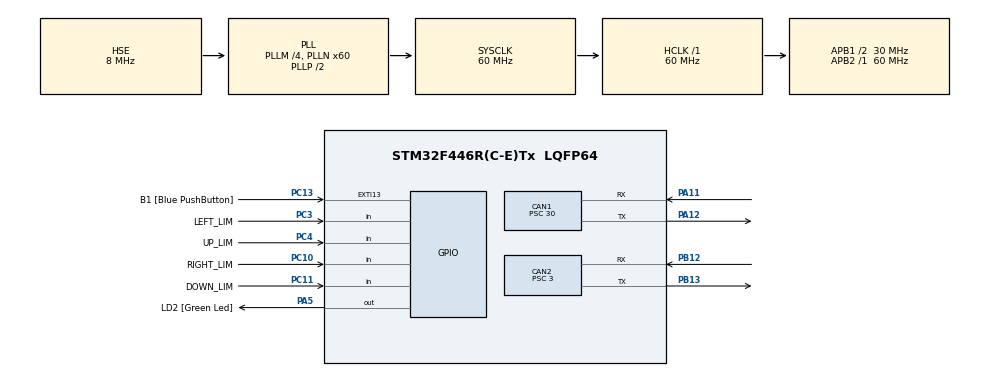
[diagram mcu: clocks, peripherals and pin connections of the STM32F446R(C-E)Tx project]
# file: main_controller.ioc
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CAN1.BS1=CAN_BS1_7TQ
CAN1.BS2=CAN_BS2_2TQ
CAN1.CalculateBaudRate=99999
CAN1.CalculateTimeBit=10000
CAN1.CalculateTimeQuantum=1000.0000000000001
CAN1.Prescaler=30
CAN2.BS1=CAN_BS1_7TQ
CAN2.BS2=CAN_BS2_2TQ
CAN2.CalculateBaudRate=1000000
CAN2.CalculateTimeBit=1000
CAN2.CalculateTimeQuantum=100.0
CAN2.Prescaler=3
Mcu.Family=STM32F4
Mcu.Name=STM32F446R(C-E)Tx
Mcu.Package=LQFP64
NVIC.CAN1_RX0_IRQn=true\:0\:0\:false\:false\:true\:true\:true\:true
NVIC.CAN2_RX0_IRQn=true\:0\:0\:false\:false\:true\:true\:true\:true
NVIC.PriorityGroup=NVIC_PRIORITYGROUP_0
PA11.Mode=CAN_Activate
PA11.Signal=CAN1_RX
PA12.Mode=CAN_Activate
PA12.Signal=CAN1_TX
PA13.GPIO_Label=TMS
PA13.Signal=SYS_JTMS-SWDIO
PA14.GPIO_Label=TCK
PA14.Signal=SYS_JTCK-SWCLK
PA2.GPIO_Label=USART_TX
PA2.Signal=USART2_TX
PA3.GPIO_Label=USART_RX
PA3.Signal=USART2_RX
PA5.GPIO_Label=LD2 [Green Led]
PA5.Signal=GPIO_Output
PB12.Mode=CAN_Activate
PB12.Signal=CAN2_RX
PB13.Mode=CAN_Activate
PB13.Signal=CAN2_TX
PB3.GPIO_Label=SWO
PB3.Signal=SYS_JTDO-SWO
PC10.GPIO_Label=RIGHT_LIM
PC10.GPIO_PuPd=GPIO_PULLUP
PC10.Signal=GPIO_Input
PC11.GPIO_Label=DOWN_LIM
PC11.GPIO_PuPd=GPIO_PULLUP
PC11.Signal=GPIO_Input
PC13.GPIO_Label=B1 [Blue PushButton]
PC13.GPIO_ModeDefaultEXTI=GPIO_MODE_IT_FALLING
PC13.Signal=GPXTI13
PC14-OSC32_IN.Signal=RCC_OSC32_IN
PC15-OSC32_OUT.Signal=RCC_OSC32_OUT
PC3.GPIO_Label=LEFT_LIM
PC3.GPIO_PuPd=GPIO_PULLUP
PC3.Signal=GPIO_Input
PC4.GPIO_Label=UP_LIM
PC4.GPIO_PuPd=GPIO_PULLUP
PC4.Signal=GPIO_Input
PH0-OSC_IN.Mode=HSE-External-Clock-Source
PH0-OSC_IN.Signal=RCC_OSC_IN
PH1-OSC_OUT.Mode=HSE-External-Clock-Source
PH1-OSC_OUT.Signal=RCC_OSC_OUT
ProjectManager.HeapSize=0x200
ProjectManager.StackSize=0x400
ProjectManager.TargetToolchain=CMake
RCC.AHBFreq_Value=60000000
RCC.APB1CLKDivider=RCC_HCLK_DIV2
RCC.APB1Freq_Value=30000000
RCC.APB1TimFreq_Value=60000000
RCC.APB2Freq_Value=60000000
RCC.APB2TimFreq_Value=60000000
RCC.CortexFreq_Value=60000000
RCC.FLatency-AdvancedSettings=FLASH_LATENCY_1
RCC.HCLKFreq_Value=60000000
RCC.HSE_VALUE=8000000
RCC.HSI_VALUE=16000000
RCC.LSE_VALUE=32768
RCC.PLLM=4
RCC.PLLN=60
RCC.PLLSourceVirtual=RCC_PLLSOURCE_HSE
RCC.SYSCLKFreq_VALUE=60000000
RCC.SYSCLKSource=RCC_SYSCLKSOURCE_PLLCLK
RCC.USBFreq_Value=60000000
RCC.VCOOutputFreq_Value=120000000
board=NUCLEO-F446RE

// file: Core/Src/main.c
/* USER CODE BEGIN Header */
/**
  ******************************************************************************
  * @file           : main.c
  * @brief          : Main program body
  ******************************************************************************
  * @attention
  *
  * Copyright (c) 2026 STMicroelectronics.
  * All rights reserved.
  *
  * This software is licensed under terms that can be found in the LICENSE file
  * in the root directory of this software component.
  * If no LICENSE file comes with this software, it is provided AS-IS.
  *
  ******************************************************************************
  */
/* USER CODE END Header */
#include "main.h"

/* USER CODE BEGIN Includes */
#include <stdbool.h>
#include "can.h"
#include "servo.h"
#include "robomas.h"
#include "debug.h"
#include <stdio.h>

/* USER CODE END Includes */

/* USER CODE BEGIN PTD */
typedef enum {
  UFO_MANUAL,   // 上下左右ボタンで移動
  UFO_LOWER,    // アーム下降
  UFO_GRAB,     // 爪(サーボ)を閉じる
  UFO_RAISE,    // アーム上昇
  UFO_HOME,     // 景品口(LEFT/UP端)へ移動
  UFO_RELEASE,  // 爪(サーボ)を開く
} ufo_state_t;

/* USER CODE END PTD */

/* USER CODE BEGIN PD */
// 爪サーボのパルス幅[us]。実機で要調整
#define SERVO_OPEN_US   2500
#define SERVO_CLOSE_US  500
// Robomas(0x200)のモータ割当: 1=X, 2=Y, 3=Z(アーム昇降)。爪はサーボ(PC5)
#define MOTOR_X     0
#define MOTOR_Y     1
#define MOTOR_ARM   2

// --- 制御パラメータ。すべて実機で要調整 ---
// 電流指令の上限(C610: ±10000 = ±10A)
#define CUR_MAX         3000

// XY: 回転数[rpm]の速度制御
#define XY_MAX_RPM      3000.0f
#define XY_HOME_RPM     2000.0f
#define XY_ACCEL_RPM    6.0f     // 1ループ(1ms)あたりの目標回転数の変化量(加減速)

// Z: 位置制御(位置P -> 回転数PI)。単位はロータ軸のエンコーダ値(8192=1回転)
// 電源投入時のアーム位置(上端)を0とする。下降側は負方向を想定
#define Z_DOWN_POS      (-1300000)
#define Z_UP_POS        0
#define Z_MAX_RPM       2000.0f
#define Z_KP_POS        0.05f    // [rpm/エンコーダ値]
#define Z_TOL           400      // 到達判定の許容誤差

// 回転数PI(XY, Zで共通)
#define VEL_KP          6.0f
#define VEL_KI          30.0f
#define VEL_I_MAX       2000.0f

#define FB_TIMEOUT_MS   100      // ロボマスのフィードバック途絶で電流0

// シーケンスの各時間[ms]。実機で要調整
#define T_LOWER_MAX_MS  15000     // 下降の到達待ち上限
#define T_GRAB_MS       1000
#define T_RAISE_MAX_MS  15000     // 上昇の到達待ち上限
#define T_HOME_MAX_MS   10000
#define T_RELEASE_MS    1000

// CAN1の自己テスト: 有効にするとCAN1を内部ループバック(外部バスを使わない)にして、
// 自分でコントローラのフレーム(0x100, 上ボタン)を送って自分で受信する。
// n が増えて esr=0 のままなら、受信側のコード/周辺機能は正常
// #define CAN_SELFTEST

#define DEBUG_PERIOD_MS  100   // デバッグ出力の周期
#define LOOP_PERIOD_MS   1     // ロボマスの指令/FBは1kHz
#define CON_TIMEOUT_MS   100   // コントローラ無通信でモータ停止

/* USER CODE END PD */

CAN_HandleTypeDef hcan1;
CAN_HandleTypeDef hcan2;

/* USER CODE BEGIN PV */
static controller_data_t con;
static uint32_t con_last_rx_ms;
static ufo_state_t state = UFO_MANUAL;
static uint32_t state_start_ms;

// デバッグ表示用: CAN1で最後に受信したフレーム
static volatile uint32_t dbg_rx_count;
static volatile uint32_t dbg_rx_id;
static volatile uint8_t  dbg_rx_dlc;
static volatile uint8_t  dbg_rx_d0;

static volatile uint32_t dbg_tx2_fail;   // CAN2(ロボマス)送信の失敗回数
static volatile uint32_t dbg_c2_lec[8];  // CAN2のエラー種別ごとの発生回数(1=stuff 2=form 3=ack 4=bit1 5=bit0 6=crc)
static volatile uint32_t dbg_c2_boff;    // CAN2のバスオフに入った回数
static int16_t dbg_cur[4];               // 最後にロボマスへ送った電流指令
static uint8_t clk_hse_ok = 1;   // 0ならHSE起動失敗でHSIにフォールバックした

static float xy_tgt[2];   // XY目標回転数
static float xy_cmd[2];   // 加減速をかけた回転数指令
static int32_t z_target = Z_UP_POS;
static pid_ctrl_t vel_pid[3] = {
  [0 ... 2] = {.kp = VEL_KP, .ki = VEL_KI, .i_max = VEL_I_MAX, .out_max = CUR_MAX},
};

/* USER CODE END PV */

void SystemClock_Config(void);
static void MX_GPIO_Init(void);
static void MX_CAN1_Init(void);
static void MX_CAN2_Init(void);
/* USER CODE BEGIN PFP */
static void can_rx_init(void);
static void can_rx_poll(void);
static void set_state(ufo_state_t next);
static void debug_print(void);
static void can2_error_watch(void);
static void control_step(void);
static void actuate(int16_t cur[4]);

/* USER CODE END PFP */

/* USER CODE BEGIN 0 */
// リミットスイッチはプルアップ入力なので押下でLOW
#define LIM_PRESSED(name) (HAL_GPIO_ReadPin(name##_GPIO_Port, name##_Pin) == GPIO_PIN_RESET)

static void can_rx_init(void)
{
  CAN_FilterTypeDef f = {0};
  f.FilterBank = 0;
  f.FilterMode = CAN_FILTERMODE_IDMASK;
  f.FilterScale = CAN_FILTERSCALE_32BIT;
  f.FilterIdHigh = 0;
  f.FilterIdLow = 0;
  f.FilterMaskIdHigh = 0;
  f.FilterMaskIdLow = 0;
  f.FilterFIFOAssignment = CAN_RX_FIFO0;
  f.FilterActivation = ENABLE;
  f.SlaveStartFilterBank = 14;
  if (HAL_CAN_ConfigFilter(&hcan1, &f) != HAL_OK) Error_Handler();
  robomas_rx_init(&hcan2);
  if (HAL_CAN_Start(&hcan1) != HAL_OK) Error_Handler();
  if (HAL_CAN_Start(&hcan2) != HAL_OK) Error_Handler();
}

static void can_rx_poll(void)
{
  CAN_RxHeaderTypeDef hdr;
  uint8_t d[CAN_DLC_MAX];
  while (HAL_CAN_GetRxFifoFillLevel(&hcan1, CAN_RX_FIFO0) > 0) {
    if (HAL_CAN_GetRxMessage(&hcan1, CAN_RX_FIFO0, &hdr, d) != HAL_OK) break;
    dbg_rx_count++;
    dbg_rx_id = (hdr.IDE == CAN_ID_STD) ? hdr.StdId : hdr.ExtId;
    dbg_rx_dlc = hdr.DLC;
    dbg_rx_d0 = d[0];
    if (hdr.IDE == CAN_ID_STD && hdr.StdId == CAN_ID_CONTROLLER && hdr.DLC >= 1) {
      con.raw = d[0];
      con_last_rx_ms = HAL_GetTick();
    }
  }
}

static void set_state(ufo_state_t next)
{
  state = next;
  state_start_ms = HAL_GetTick();
  if (next == UFO_GRAB) servo_set_pulse_us(SERVO_CLOSE_US);
  if (next == UFO_RELEASE) servo_set_pulse_us(SERVO_OPEN_US);
}

// CAN2のエラー種別(LEC)とバスオフを数える。毎ループ呼ぶ
static void can2_error_watch(void)
{
  static uint32_t prev_boff;
  uint32_t esr = hcan2.Instance->ESR;
  uint32_t lec = (esr >> 4) & 7;
  if (lec) {
    dbg_c2_lec[lec]++;
    hcan2.Instance->ESR = 0;  // LECをクリア(次のエラーを検出できるように)
  }
  uint32_t boff = esr & CAN_ESR_BOFF;
  if (boff && !prev_boff) dbg_c2_boff++;
  prev_boff = boff;
}

// 100msごとに状態を1行出力する(ノンブロッキング)
static void debug_print(void)
{
  static uint32_t last_ms;
  uint32_t now = HAL_GetTick();
  if (now - last_ms < DEBUG_PERIOD_MS) return;
  last_ms = now;

  // ESR: LEC[6:4]=最後のエラー種別, BOFF[2], EPVF[1], EWGF[0], TEC[23:16], REC[31:24]
  uint32_t esr = hcan1.Instance->ESR;
  char line[400];
  int n = snprintf(line, sizeof(line),
      "clk=%s CAN1 n=%lu id=0x%03lX dlc=%u d0=%02X age=%lums esr=%08lX | "
      "L%d R%d U%d D%d C%d | st=%d | fb=%d%d%d n=%lu,%lu,%lu rpm=%d,%d,%d z=%ld | "
      "lim=%d%d%d%d cur=%d,%d,%d c2esr=%08lX tx2fail=%lu c2boff=%lu c2lec=%lu,%lu,%lu,%lu,%lu,%lu\r\n",
      clk_hse_ok ? "HSE" : "HSI", (unsigned long)dbg_rx_count, (unsigned long)dbg_rx_id, dbg_rx_dlc, dbg_rx_d0,
      (unsigned long)(now - con_last_rx_ms), (unsigned long)esr,
      con.left, con.right, con.up, con.down, con.cat, (int)state,
      robomas_alive(0, FB_TIMEOUT_MS), robomas_alive(1, FB_TIMEOUT_MS), robomas_alive(2, FB_TIMEOUT_MS),
      (unsigned long)robomas_fb[0].count, (unsigned long)robomas_fb[1].count,
      (unsigned long)robomas_fb[2].count,
      robomas_fb[0].rpm, robomas_fb[1].rpm, robomas_fb[2].rpm,
      (long)robomas_fb[MOTOR_ARM].total,
      LIM_PRESSED(LEFT_LIM), LIM_PRESSED(RIGHT_LIM), LIM_PRESSED(UP_LIM), LIM_PRESSED(DOWN_LIM),
      dbg_cur[0], dbg_cur[1], dbg_cur[2],
      (unsigned long)hcan2.Instance->ESR, (unsigned long)dbg_tx2_fail,
      (unsigned long)dbg_c2_boff,
      (unsigned long)dbg_c2_lec[1], (unsigned long)dbg_c2_lec[2], (unsigned long)dbg_c2_lec[3],
      (unsigned long)dbg_c2_lec[4], (unsigned long)dbg_c2_lec[5], (unsigned long)dbg_c2_lec[6]);
  if (n > 0) debug_write(line, (size_t)n);
}

static bool z_reached(void)
{
  int32_t err = z_target - robomas_fb[MOTOR_ARM].total;
  return err > -Z_TOL && err < Z_TOL;
}

// 目標(xy_tgt, z_target)を状態に応じて決める
static void control_step(void)
{
  uint32_t elapsed = HAL_GetTick() - state_start_ms;
  xy_tgt[MOTOR_X] = 0;
  xy_tgt[MOTOR_Y] = 0;

  switch (state) {
  case UFO_MANUAL:
    z_target = Z_UP_POS;
    // 同時押しは打ち消す
    if (con.left  && !con.right) xy_tgt[MOTOR_X] = -XY_MAX_RPM;
    if (con.right && !con.left)  xy_tgt[MOTOR_X] =  XY_MAX_RPM;
    if (con.up    && !con.down)  xy_tgt[MOTOR_Y] =  XY_MAX_RPM;
    if (con.down  && !con.up)    xy_tgt[MOTOR_Y] = -XY_MAX_RPM;
    if (con.cat) set_state(UFO_LOWER);
    break;

  case UFO_LOWER:
    z_target = Z_DOWN_POS;
    if (z_reached() || elapsed >= T_LOWER_MAX_MS) set_state(UFO_GRAB);
    break;

  case UFO_GRAB:
    if (elapsed >= T_GRAB_MS) set_state(UFO_RAISE);
    break;

  case UFO_RAISE:
    z_target = Z_UP_POS;
    if (z_reached() || elapsed >= T_RAISE_MAX_MS) set_state(UFO_HOME);
    break;

  case UFO_HOME: {
    bool x_done = LIM_PRESSED(LEFT_LIM);
    bool y_done = LIM_PRESSED(DOWN_LIM);
    if (!x_done) xy_tgt[MOTOR_X] = -XY_HOME_RPM;
    if (!y_done) xy_tgt[MOTOR_Y] = -XY_HOME_RPM;
    if ((x_done && y_done) || elapsed >= T_HOME_MAX_MS) set_state(UFO_RELEASE);
    break;
  }

  case UFO_RELEASE:
    if (elapsed >= T_RELEASE_MS) set_state(UFO_MANUAL);
    break;
  }
}

// 目標からモータ電流を計算する
static void actuate(int16_t cur[4])
{
  const float dt = LOOP_PERIOD_MS / 1000.0f;

  for (int i = 0; i < 3; i++) {
    if (!robomas_alive(i, FB_TIMEOUT_MS)) {
      // フィードバックがないモータは電流0。再開時に急発進しないよう状態も戻す
      for (int j = 0; j < 3; j++) pid_reset(&vel_pid[j]);
      xy_cmd[MOTOR_X] = xy_cmd[MOTOR_Y] = 0;
      return;
    }
  }

  // XY: 加減速付きの速度制御。端のリミットに向かう指令は即0
  for (int i = 0; i < 2; i++) {
    float diff = xy_tgt[i] - xy_cmd[i];
    if (diff >  XY_ACCEL_RPM) diff =  XY_ACCEL_RPM;
    if (diff < -XY_ACCEL_RPM) diff = -XY_ACCEL_RPM;
    xy_cmd[i] += diff;
  }
  if (LIM_PRESSED(LEFT_LIM)  && xy_cmd[MOTOR_X] < 0) xy_cmd[MOTOR_X] = 0;
  if (LIM_PRESSED(RIGHT_LIM) && xy_cmd[MOTOR_X] > 0) xy_cmd[MOTOR_X] = 0;
  if (LIM_PRESSED(UP_LIM)    && xy_cmd[MOTOR_Y] > 0) xy_cmd[MOTOR_Y] = 0;
  if (LIM_PRESSED(DOWN_LIM)  && xy_cmd[MOTOR_Y] < 0) xy_cmd[MOTOR_Y] = 0;

  for (int i = 0; i < 2; i++) {
    cur[i] = (int16_t)pid_step(&vel_pid[i], xy_cmd[i] - robomas_fb[i].rpm, dt);
  }

  // Z: 位置P -> 回転数PI
  float z_rpm = Z_KP_POS * (float)(z_target - robomas_fb[MOTOR_ARM].total);
  if (z_rpm >  Z_MAX_RPM) z_rpm =  Z_MAX_RPM;
  if (z_rpm < -Z_MAX_RPM) z_rpm = -Z_MAX_RPM;
  cur[MOTOR_ARM] = (int16_t)pid_step(&vel_pid[MOTOR_ARM], z_rpm - robomas_fb[MOTOR_ARM].rpm, dt);
}

/* USER CODE END 0 */

int main(void)
{

  /* MCU Configuration--------------------------------------------------------*/

  /* Reset of all peripherals, Initializes the Flash interface and the Systick. */
  HAL_Init();

  /* Configure the system clock */
  SystemClock_Config();

  /* Initialize all configured peripherals */
  MX_GPIO_Init();
  MX_CAN1_Init();
  MX_CAN2_Init();
  /* USER CODE BEGIN 2 */
#ifdef CAN_SELFTEST
  HAL_CAN_DeInit(&hcan1);
  hcan1.Init.Mode = CAN_MODE_LOOPBACK;
  if (HAL_CAN_Init(&hcan1) != HAL_OK) Error_Handler();
#endif
  // CAN2(ロボマス)はバスオフに入っても自動復帰させる
  HAL_CAN_DeInit(&hcan2);
  hcan2.Init.AutoBusOff = ENABLE;
  if (HAL_CAN_Init(&hcan2) != HAL_OK) Error_Handler();
  can_rx_init();
  servo_init(SERVO_OPEN_US);
  debug_init();

  /* USER CODE END 2 */

  /* Infinite loop */
  while (1)
  {

    /* USER CODE BEGIN 3 */
    can_rx_poll();

    int16_t cur[4] = {0};
    if (HAL_GetTick() - con_last_rx_ms > CON_TIMEOUT_MS) {
      con.raw = 0;  // 通信断中はMANUALで全停止。シーケンス実行中はそのまま完了させる
    }
    can2_error_watch();
    debug_print();
#ifdef CAN_SELFTEST
    {
      static uint32_t last_tx_ms;
      if (HAL_GetTick() - last_tx_ms >= 10) {
        last_tx_ms = HAL_GetTick();
        can_command_data_t t = {.id = CAN_ID_CONTROLLER};
        t.data.con.up = 1;
        stm_can_send(&hcan1, &t);
      }
    }
#endif
    control_step();
    actuate(cur);

    can_command_data_t com = {.id = CAN_ID_ROBOMAS_SEND};
    can_protocol_pack_robomas(&com.data, cur);
    if (stm_can_send(&hcan2, &com) != HAL_OK) dbg_tx2_fail++;
    for (int i = 0; i < 4; i++) dbg_cur[i] = cur[i];
    // STATUS_LED(PA5): 上下左右・キャッチのいずれかが入力されている間だけ点灯
    bool any_input = con.left || con.right || con.up || con.down || con.cat;
    HAL_GPIO_WritePin(LD2_GPIO_Port, LD2_Pin, any_input ? GPIO_PIN_SET : GPIO_PIN_RESET);
    // 次のtick(1ms)まで待つ。ロボマスのFBは割り込みで受信済み
    uint32_t t = HAL_GetTick();
    while (HAL_GetTick() == t) {}
  }
  /* USER CODE END 3 */
}

void SystemClock_Config(void)
{
  RCC_OscInitTypeDef RCC_OscInitStruct = {0};
  RCC_ClkInitTypeDef RCC_ClkInitStruct = {0};

  /** Configure the main internal regulator output voltage
  */
  __HAL_RCC_PWR_CLK_ENABLE();
  __HAL_PWR_VOLTAGESCALING_CONFIG(PWR_REGULATOR_VOLTAGE_SCALE3);

  /** Initializes the RCC Oscillators according to the specified parameters
  * in the RCC_OscInitTypeDef structure.
  */
  RCC_OscInitStruct.OscillatorType = RCC_OSCILLATORTYPE_HSE;
  RCC_OscInitStruct.HSEState = RCC_HSE_BYPASS;
  RCC_OscInitStruct.PLL.PLLState = RCC_PLL_ON;
  RCC_OscInitStruct.PLL.PLLSource = RCC_PLLSOURCE_HSE;
  RCC_OscInitStruct.PLL.PLLM = 4;
  RCC_OscInitStruct.PLL.PLLN = 60;
  RCC_OscInitStruct.PLL.PLLP = RCC_PLLP_DIV2;
  RCC_OscInitStruct.PLL.PLLQ = 2;
  RCC_OscInitStruct.PLL.PLLR = 2;
  if (HAL_RCC_OscConfig(&RCC_OscInitStruct) != HAL_OK)
  {
    /* HSE(ST-LINKのMCO)が立ち上がらないときはHSIで動かす。システムクロックは同じ60MHz */
    clk_hse_ok = 0;
    RCC_OscInitStruct = (RCC_OscInitTypeDef){0};
    RCC_OscInitStruct.OscillatorType = RCC_OSCILLATORTYPE_HSE|RCC_OSCILLATORTYPE_HSI;
    RCC_OscInitStruct.HSEState = RCC_HSE_OFF;
    RCC_OscInitStruct.HSIState = RCC_HSI_ON;
    RCC_OscInitStruct.HSICalibrationValue = RCC_HSICALIBRATION_DEFAULT;
    RCC_OscInitStruct.PLL.PLLState = RCC_PLL_ON;
    RCC_OscInitStruct.PLL.PLLSource = RCC_PLLSOURCE_HSI;
    RCC_OscInitStruct.PLL.PLLM = 8;
    RCC_OscInitStruct.PLL.PLLN = 60;
    RCC_OscInitStruct.PLL.PLLP = RCC_PLLP_DIV2;
    RCC_OscInitStruct.PLL.PLLQ = 2;
    RCC_OscInitStruct.PLL.PLLR = 2;
    if (HAL_RCC_OscConfig(&RCC_OscInitStruct) != HAL_OK)
    {
      Error_Handler();
    }
  }

  /** Initializes the CPU, AHB and APB buses clocks
  */
  RCC_ClkInitStruct.ClockType = RCC_CLOCKTYPE_HCLK|RCC_CLOCKTYPE_SYSCLK
                              |RCC_CLOCKTYPE_PCLK1|RCC_CLOCKTYPE_PCLK2;
  RCC_ClkInitStruct.SYSCLKSource = RCC_SYSCLKSOURCE_PLLCLK;
  RCC_ClkInitStruct.AHBCLKDivider = RCC_SYSCLK_DIV1;
  RCC_ClkInitStruct.APB1CLKDivider = RCC_HCLK_DIV2;
  RCC_ClkInitStruct.APB2CLKDivider = RCC_HCLK_DIV1;

  if (HAL_RCC_ClockConfig(&RCC_ClkInitStruct, FLASH_LATENCY_1) != HAL_OK)
  {
    Error_Handler();
  }
}

static void MX_CAN1_Init(void)
{

  hcan1.Instance = CAN1;
  hcan1.Init.Prescaler = 30;
  hcan1.Init.Mode = CAN_MODE_NORMAL;
  hcan1.Init.SyncJumpWidth = CAN_SJW_1TQ;
  hcan1.Init.TimeSeg1 = CAN_BS1_7TQ;
  hcan1.Init.TimeSeg2 = CAN_BS2_2TQ;
  hcan1.Init.TimeTriggeredMode = DISABLE;
  hcan1.Init.AutoBusOff = DISABLE;
  hcan1.Init.AutoWakeUp = DISABLE;
  hcan1.Init.AutoRetransmission = DISABLE;
  hcan1.Init.ReceiveFifoLocked = DISABLE;
  hcan1.Init.TransmitFifoPriority = DISABLE;
  if (HAL_CAN_Init(&hcan1) != HAL_OK)
  {
    Error_Handler();
  }

}

static void MX_CAN2_Init(void)
{

  hcan2.Instance = CAN2;
  hcan2.Init.Prescaler = 3;
  hcan2.Init.Mode = CAN_MODE_NORMAL;
  hcan2.Init.SyncJumpWidth = CAN_SJW_1TQ;
  hcan2.Init.TimeSeg1 = CAN_BS1_7TQ;
  hcan2.Init.TimeSeg2 = CAN_BS2_2TQ;
  hcan2.Init.TimeTriggeredMode = DISABLE;
  hcan2.Init.AutoBusOff = DISABLE;
  hcan2.Init.AutoWakeUp = DISABLE;
  hcan2.Init.AutoRetransmission = DISABLE;
  hcan2.Init.ReceiveFifoLocked = DISABLE;
  hcan2.Init.TransmitFifoPriority = DISABLE;
  if (HAL_CAN_Init(&hcan2) != HAL_OK)
  {
    Error_Handler();
  }

}

static void MX_GPIO_Init(void)
{
  GPIO_InitTypeDef GPIO_InitStruct = {0};

  /* GPIO Ports Clock Enable */
  __HAL_RCC_GPIOC_CLK_ENABLE();
  __HAL_RCC_GPIOH_CLK_ENABLE();
  __HAL_RCC_GPIOA_CLK_ENABLE();
  __HAL_RCC_GPIOB_CLK_ENABLE();

  /*Configure GPIO pin Output Level */
  HAL_GPIO_WritePin(LD2_GPIO_Port, LD2_Pin, GPIO_PIN_RESET);

  /*Configure GPIO pin : B1_Pin */
  GPIO_InitStruct.Pin = B1_Pin;
  GPIO_InitStruct.Mode = GPIO_MODE_IT_FALLING;
  GPIO_InitStruct.Pull = GPIO_NOPULL;
  HAL_GPIO_Init(B1_GPIO_Port, &GPIO_InitStruct);

  /*Configure GPIO pins : LEFT_LIM_Pin UP_LIM_Pin RIGHT_LIM_Pin DOWN_LIM_Pin */
  GPIO_InitStruct.Pin = LEFT_LIM_Pin|UP_LIM_Pin|RIGHT_LIM_Pin|DOWN_LIM_Pin;
  GPIO_InitStruct.Mode = GPIO_MODE_INPUT;
  GPIO_InitStruct.Pull = GPIO_PULLUP;
  HAL_GPIO_Init(GPIOC, &GPIO_InitStruct);

  /*Configure GPIO pins : USART_TX_Pin USART_RX_Pin */
  GPIO_InitStruct.Pin = USART_TX_Pin|USART_RX_Pin;
  GPIO_InitStruct.Mode = GPIO_MODE_AF_PP;
  GPIO_InitStruct.Pull = GPIO_NOPULL;
  GPIO_InitStruct.Speed = GPIO_SPEED_FREQ_VERY_HIGH;
  GPIO_InitStruct.Alternate = GPIO_AF7_USART2;
  HAL_GPIO_Init(GPIOA, &GPIO_InitStruct);

  /*Configure GPIO pin : LD2_Pin */
  GPIO_InitStruct.Pin = LD2_Pin;
  GPIO_InitStruct.Mode = GPIO_MODE_OUTPUT_PP;
  GPIO_InitStruct.Pull = GPIO_NOPULL;
  GPIO_InitStruct.Speed = GPIO_SPEED_FREQ_LOW;
  HAL_GPIO_Init(LD2_GPIO_Port, &GPIO_InitStruct);

}

void Error_Handler(void)
{
  __disable_irq();
  while (1)
  {
  }
}
